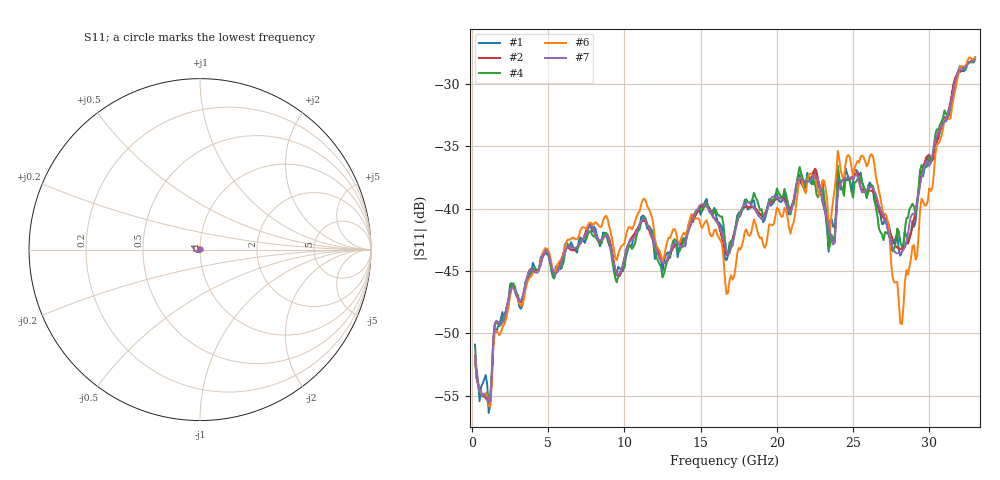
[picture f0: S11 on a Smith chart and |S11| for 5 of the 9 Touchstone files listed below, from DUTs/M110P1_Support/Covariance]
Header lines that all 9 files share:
# GHZ S RI R 50
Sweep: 200 MHz to 33 GHz
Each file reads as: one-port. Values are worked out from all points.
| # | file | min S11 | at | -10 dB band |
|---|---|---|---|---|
| 1 | M110P1_3.s2p | -56.4 dB | 1.1 GHz | over 32.8 GHz wide |
| 2 | M110P1_4.s2p | -55.8 dB | 1.1 GHz | over 32.8 GHz wide |
| 3 | M110P1_6.s2p | -55.8 dB | 1.1 GHz | over 32.8 GHz wide |
| 4 | M110P1_7.s2p | -55.5 dB | 1.1 GHz | over 32.8 GHz wide |
| 5 | M110P1_8.s2p | -55.5 dB | 1.1 GHz | over 32.8 GHz wide |
| 6 | M110P1_10.s2p | -55.9 dB | 1.2 GHz | over 32.8 GHz wide |
| 7 | M110P1_12.s2p | -55.6 dB | 1.1 GHz | over 32.8 GHz wide |
| 8 | M110P1_13.s2p | -55.6 dB | 1.1 GHz | over 32.8 GHz wide |
| 9 | M110P1_15.s2p | -55.8 dB | 1.1 GHz | over 32.8 GHz wide |
